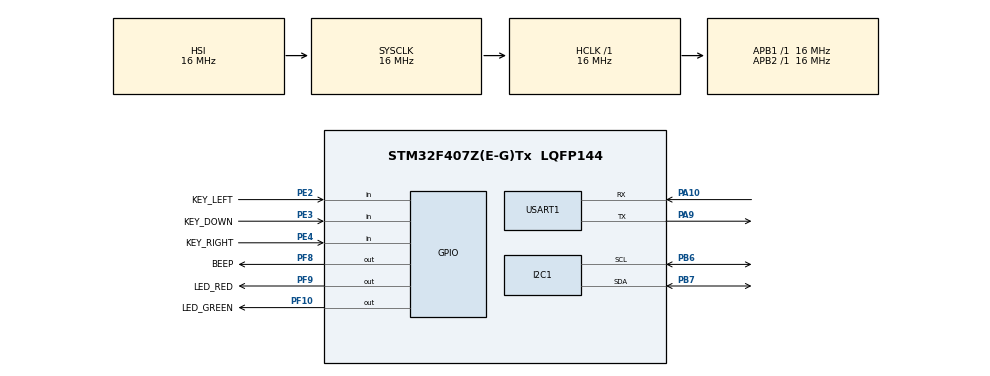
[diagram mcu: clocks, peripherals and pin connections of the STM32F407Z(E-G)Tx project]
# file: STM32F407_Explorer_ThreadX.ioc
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I2C1.DualAddressMode=I2C_DUALADDRESS_DISABLE
I2C1.OwnAddress=0x10
Mcu.Family=STM32F4
Mcu.Name=STM32F407Z(E-G)Tx
Mcu.Package=LQFP144
NVIC.PriorityGroup=NVIC_PRIORITYGROUP_4
NVIC.USART1_IRQn=true\:0\:0\:false\:false\:true\:true\:true
PA10.Mode=Asynchronous
PA10.Signal=USART1_RX
PA13.Mode=Trace_Asynchronous_SW
PA13.Signal=SYS_JTMS-SWDIO
PA14.Mode=Trace_Asynchronous_SW
PA14.Signal=SYS_JTCK-SWCLK
PA9.Mode=Asynchronous
PA9.Signal=USART1_TX
PB3.Mode=Trace_Asynchronous_SW
PB3.Signal=SYS_JTDO-SWO
PB6.Mode=I2C
PB6.Signal=I2C1_SCL
PB7.Mode=I2C
PB7.Signal=I2C1_SDA
PE2.GPIO_Label=KEY_LEFT
PE2.GPIO_PuPd=GPIO_PULLUP
PE2.Signal=GPIO_Input
PE3.GPIO_Label=KEY_DOWN
PE3.GPIO_PuPd=GPIO_PULLUP
PE3.Signal=GPIO_Input
PE4.GPIO_Label=KEY_RIGHT
PE4.GPIO_PuPd=GPIO_PULLUP
PE4.Signal=GPIO_Input
PF10.GPIO_Label=LED_GREEN
PF10.GPIO_ModeDefaultOutputPP=GPIO_MODE_OUTPUT_PP
PF10.GPIO_PuPd=GPIO_NOPULL
PF10.GPIO_Speed=GPIO_SPEED_FREQ_LOW
PF10.PinState=GPIO_PIN_RESET
PF10.Signal=GPIO_Output
PF8.GPIO_Label=BEEP
PF8.GPIO_ModeDefaultOutputPP=GPIO_MODE_OUTPUT_PP
PF8.GPIO_PuPd=GPIO_NOPULL
PF8.GPIO_Speed=GPIO_SPEED_FREQ_LOW
PF8.PinState=GPIO_PIN_RESET
PF8.Signal=GPIO_Output
PF9.GPIO_Label=LED_RED
PF9.GPIO_ModeDefaultOutputPP=GPIO_MODE_OUTPUT_PP
PF9.GPIO_PuPd=GPIO_NOPULL
PF9.GPIO_Speed=GPIO_SPEED_FREQ_LOW
PF9.PinState=GPIO_PIN_RESET
PF9.Signal=GPIO_Output
ProjectManager.HeapSize=0x200
ProjectManager.StackSize=0x400
ProjectManager.TargetToolchain=STM32CubeIDE
RCC.AHBFreq_Value=16000000
RCC.APB1Freq_Value=16000000
RCC.APB2Freq_Value=16000000
RCC.CortexFreq_Value=16000000
RCC.HSE_VALUE=25000000
RCC.HSI_VALUE=16000000
RCC.LSE_VALUE=32768
RCC.SYSCLKFreq_VALUE=16000000
RCC.VCOOutputFreq_Value=192000000
USART1.VirtualMode=VM_ASYNC
board=custom

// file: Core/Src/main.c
/* USER CODE BEGIN Header */
/**
  ******************************************************************************
  * @file           : main.c
  * @brief          : Main program body
  ******************************************************************************
  * @attention
  *
  * <h2><center>&copy; Copyright (c) 2020 STMicroelectronics.
  * All rights reserved.</center></h2>
  *
  * This software component is licensed by ST under BSD 3-Clause license,
  * the "License"; You may not use this file except in compliance with the
  * License. You may obtain a copy of the License at:
  *                        opensource.org/licenses/BSD-3-Clause
  *
  ******************************************************************************
  */
/* USER CODE END Header */

#include "main.h"
#include "i2c.h"
#include "usart.h"
#include "gpio.h"

/* USER CODE BEGIN Includes */
#include <stdio.h>
#include "tx_api.h"
/* USER CODE END Includes */

void SystemClock_Config(void);

/* USER CODE BEGIN 0 */
TX_THREAD thread1;
TX_THREAD thread2;

void thread1_entry(ULONG thread_input)
{
  while(1)
  {
    printf("threadx 1 running...\n");
    /* Sleep for 1 tick. */
    tx_thread_sleep(1000);
  }
}
void thread2_entry(ULONG thread_input)
{
  while(1)
  {
    printf("threadx 2 running...\n");
    /* Sleep for 1 tick. */
    tx_thread_sleep(1000);
  }
}

void tx_application_define(void *first_unused_memory)
{
  /* Create my_thread! */
  tx_thread_create(&thread1, "Thread 1",
  thread1_entry, 0x1234, first_unused_memory, 1024, 3, 3, TX_NO_TIME_SLICE, TX_AUTO_START);

  tx_thread_create(&thread2, "Thread 2",
  thread2_entry, 0x1234, first_unused_memory+1024, 1024, 1, 1, TX_NO_TIME_SLICE, TX_AUTO_START);
}

/* USER CODE END 0 */

int main(void)
{

  /* MCU Configuration--------------------------------------------------------*/

  /* Reset of all peripherals, Initializes the Flash interface and the Systick. */
  HAL_Init();

  /* Configure the system clock */
  SystemClock_Config();

  /* Initialize all configured peripherals */
  MX_GPIO_Init();
  MX_I2C1_Init();
  MX_USART1_UART_Init();
  /* USER CODE BEGIN 2 */
  printf("\nSTM32CubeIDE v1.3.1 + STM32F407 + ThreadX v6.0\n\n");
  /* Enter the ThreadX kernel. */
  tx_kernel_enter( );

  /* USER CODE END 2 */

  /* Infinite loop */
  while (1)
  {

  }
}

void SystemClock_Config(void)
{
  RCC_OscInitTypeDef RCC_OscInitStruct = {0};
  RCC_ClkInitTypeDef RCC_ClkInitStruct = {0};

  /** Configure the main internal regulator output voltage
  */
  __HAL_RCC_PWR_CLK_ENABLE();
  __HAL_PWR_VOLTAGESCALING_CONFIG(PWR_REGULATOR_VOLTAGE_SCALE1);
  /** Initializes the CPU, AHB and APB busses clocks
  */
  RCC_OscInitStruct.OscillatorType = RCC_OSCILLATORTYPE_HSI;
  RCC_OscInitStruct.HSIState = RCC_HSI_ON;
  RCC_OscInitStruct.HSICalibrationValue = RCC_HSICALIBRATION_DEFAULT;
  RCC_OscInitStruct.PLL.PLLState = RCC_PLL_NONE;
  if (HAL_RCC_OscConfig(&RCC_OscInitStruct) != HAL_OK)
  {
    Error_Handler();
  }
  /** Initializes the CPU, AHB and APB busses clocks
  */
  RCC_ClkInitStruct.ClockType = RCC_CLOCKTYPE_HCLK|RCC_CLOCKTYPE_SYSCLK
                              |RCC_CLOCKTYPE_PCLK1|RCC_CLOCKTYPE_PCLK2;
  RCC_ClkInitStruct.SYSCLKSource = RCC_SYSCLKSOURCE_HSI;
  RCC_ClkInitStruct.AHBCLKDivider = RCC_SYSCLK_DIV1;
  RCC_ClkInitStruct.APB1CLKDivider = RCC_HCLK_DIV1;
  RCC_ClkInitStruct.APB2CLKDivider = RCC_HCLK_DIV1;

  if (HAL_RCC_ClockConfig(&RCC_ClkInitStruct, FLASH_LATENCY_0) != HAL_OK)
  {
    Error_Handler();
  }
}

/* USER CODE BEGIN 4 */
// Retargets the C library printf function to the USART.
#ifdef __GNUC__
#define PUTCHAR_PROTOTYPE int __io_putchar(int ch)
#else
#define PUTCHAR_PROTOTYPE int fputc(int ch, FILE *f)
#endif

PUTCHAR_PROTOTYPE
{
    HAL_UART_Transmit(&huart1, (uint8_t*)&ch, 1, HAL_MAX_DELAY);
    return ch;
}

/* USER CODE END 4 */

void Error_Handler(void)
{
}

/************************ (C) COPYRIGHT STMicroelectronics *****END OF FILE****/
